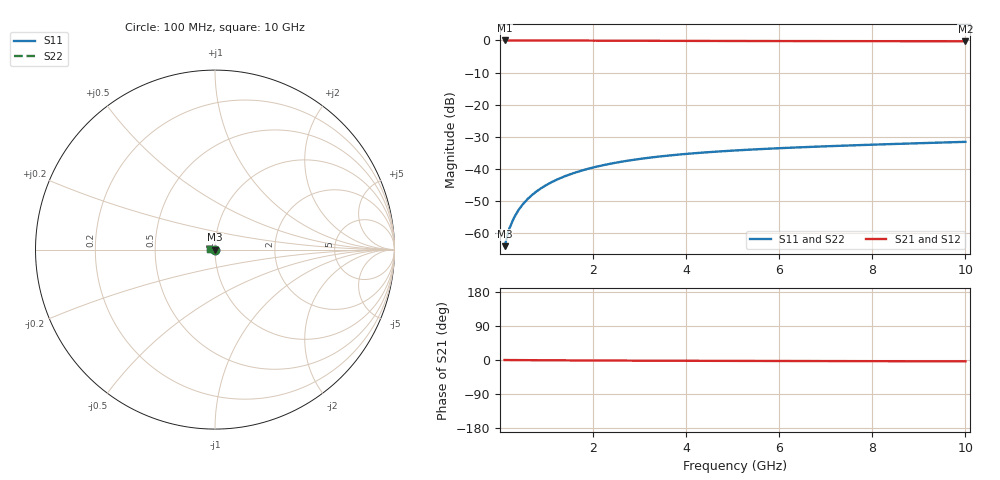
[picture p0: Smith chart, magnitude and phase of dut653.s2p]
! Touchstone file exported from HFSS 2024.1.0
!  File:  C:/UserFiles/LocalFiles/RDL_TSV_Batchsim/temp_TSV1_653_1779792396.aedt
!  Generated:  06:52:26 PM May 26, 2026
!  Design:  TSV1
!  Project:  temp_TSV1_653_1779792396
!  Setup:  Setup1
!  Solution:  Sweep
! Variables:
!  dtsv = 6.57um
!  hbump = 3um
!  htsv = 52.18um
!  lrdl = 252.1521522um
!  p = 40
!  p1 = 40.82um
!  t = 500um
!  trdl = 3um
!  wrdl = 24.89489489um
# GHz S MA R 50.000000
! Terminal data exported
! Port[1] = TSV22_T1
! Port[2] = TSV22_T2
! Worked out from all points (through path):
!   100 points, 100 MHz to 10 GHz, reference 50 ohm
!   highest |S21| = 0.00 dB at 100 MHz (marker M1); lowest = -0.2 dB at 10 GHz (marker M2)
!   lowest |S11| = -64.1 dB at 100 MHz (marker M3), VSWR 1.00, Z = 50 - j0.0576 ohm
!   |S11| at or under -10 dB: start of sweep to end of sweep
!   |S22| runs from -64.1 to -31.6 dB; largest |S21 - S12| = 5.4e-15
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0.1  0.0006239 -67.3  0.9997 -0.1  0.9997 -0.1  0.0006239 -67.3
! Gamma 0 0 0 0
! Port Impedance 50 0 50 0
0.2  0.001164 -81.0  0.9997 -0.1  0.9997 -0.1  0.001164 -81.0
0.3  0.001723 -87.1  0.9996 -0.2  0.9996 -0.2  0.001723 -87.1
0.4  0.002286 -91.1  0.9994 -0.3  0.9994 -0.3  0.002286 -91.1
0.5  0.002851 -94.3  0.9992 -0.4  0.9992 -0.4  0.002851 -94.3
0.6  0.003414 -96.9  0.999 -0.4  0.999 -0.4  0.003414 -96.9
0.7  0.003973 -99.3  0.9988 -0.5  0.9988 -0.5  0.003973 -99.3
0.8  0.004526 -101.4  0.9985 -0.6  0.9985 -0.6  0.004526 -101.4
0.9  0.005074 -103.5  0.9982 -0.6  0.9982 -0.6  0.005074 -103.5
1.1  0.006145 -107.4  0.9975 -0.8  0.9975 -0.8  0.006145 -107.4
1.4  0.007684 -112.8  0.9964 -1.0  0.9964 -1.0  0.007684 -112.8
1.6  0.008658 -116.2  0.9955 -1.1  0.9955 -1.1  0.008658 -116.2
1.8  0.009589 -119.4  0.9946 -1.2  0.9946 -1.2  0.009589 -119.4
2.1  0.0109 -124.1  0.9932 -1.3  0.9932 -1.3  0.0109 -124.1
2.5  0.01249 -130.0  0.9913 -1.5  0.9913 -1.5  0.01249 -130.0
2.9  0.01391 -135.4  0.9893 -1.7  0.9893 -1.7  0.01391 -135.4
3.4  0.01547 -141.7  0.987 -1.9  0.987 -1.9  0.01547 -141.7
4.2  0.01754 -150.6  0.9838 -2.1  0.9838 -2.1  0.01754 -150.6
5.1  0.01941 -159.3  0.9807 -2.4  0.9807 -2.4  0.01941 -159.3
6.7  0.022 -172.0  0.9767 -2.8  0.9767 -2.8  0.022 -172.0
8.4  0.02429 177.2  0.9738 -3.2  0.9738 -3.2  0.02429 177.2
10  0.02632 168.7  0.9719 -3.6  0.9719 -3.6  0.02632 168.7
